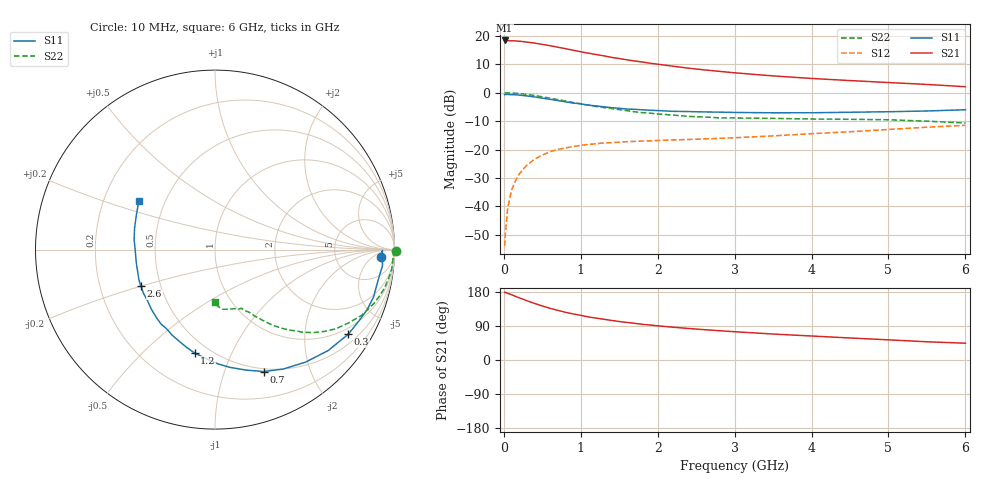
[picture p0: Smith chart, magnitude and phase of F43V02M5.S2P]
!  INFINEON TECHNOLOGIES Small Signal Semiconductors
! BFR360F , Si-NPN RF-Transistor T571A in TSFP3
!  Vce=3 V,  Ic=2.5 mA
! Common Emitter S-Parameters:  29. May 2001
#  GHz  S  MA  R  50
! f  S11  S21  S12  S22
! GHz  Mag  Ang  Mag  Ang  Mag  Ang  Mag  Ang
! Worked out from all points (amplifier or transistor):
!   36 points, 10 MHz to 6 GHz, reference 50 ohm
!   highest |S21| = 18.4 dB at 10 MHz (marker M1)
!   |S21| within 3 dB of that: start of sweep to 821 MHz
!   unconditionally stable (mu >= 1): 3.213 GHz to end of sweep
!   at 250 MHz: K = 0.09, MSG = 22.5 dB, |S12| = -26.9 dB
!   at 1.4 GHz: K = 0.54, MSG = 15.0 dB, |S12| = -17.6 dB
!   at 6 GHz: K = 1.07, MAG = 5.1 dB, |S12| = -11.4 dB
!   S11 on the Smith chart (normalised r, x): 10 MHz: 19, -11; 300 MHz: 0.79, -3.27; 700 MHz: 0.47, -1.37; 1.2 GHz: 0.42, -0.73; 2.6 GHz: 0.39, -0.20; 6 GHz: 0.36, +0.26
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0.01  0.9254 -2.7  8.324 178.4  0.002 92.2  1.007 -0.4
0.02  0.9325 -0.3  8.204 178.7  0.0033 86.4  0.9947 -1.2
0.05  0.9374 -5.5  8.27 175.8  0.0093 91.3  0.9928 -3.3
0.1  0.9248 -10.5  8.217 172.4  0.0193 86.0  0.9902 -6.6
0.2  0.9105 -21.8  8.071 164.1  0.0371 79.8  0.9684 -12.8
0.3  0.8794 -32.4  7.79 156.4  0.0533 72.5  0.9343 -18.8
0.4  0.845 -41.7  7.482 149.2  0.0678 67.5  0.8938 -24.3
0.5  0.8051 -51.1  7.1 142.6  0.0802 63.1  0.8485 -28.8
0.6  0.7667 -60.2  6.737 136.3  0.0916 59.0  0.8041 -33.3
0.7  0.7311 -68.3  6.339 131.1  0.1009 56.1  0.7596 -36.9
0.9  0.6604 -83.0  5.615 121.6  0.1132 50.7  0.6745 -43.1
1.1  0.6043 -95.9  4.976 113.6  0.1233 47.2  0.6061 -47.6
1.2  0.5871 -101.2  4.702 110.5  0.1268 46.2  0.5743 -49.7
1.4  0.5475 -111.6  4.193 104.4  0.1325 44.4  0.5273 -52.8
1.6  0.5172 -121.4  3.801 99.1  0.1381 43.4  0.4843 -55.4
1.8  0.5013 -130.2  3.474 94.2  0.1416 43.1  0.4473 -57.7
2.2  0.4714 -143.0  2.931 86.5  0.1482 44.2  0.405 -60.6
2.6  0.4601 -153.7  2.532 80.1  0.1541 46.3  0.3752 -63.8
3.5  0.4444 -171.2  1.98 68.5  0.1744 52.9  0.3542 -69.1
4.5  0.454 172.9  1.639 58.1  0.2062 58.4  0.3413 -77.0
5.5  0.478 156.6  1.401 48.1  0.2478 62.4  0.3162 -87.1
6  0.5025 147.7  1.278 44.3  0.2678 63.6  0.2943 -90.2
